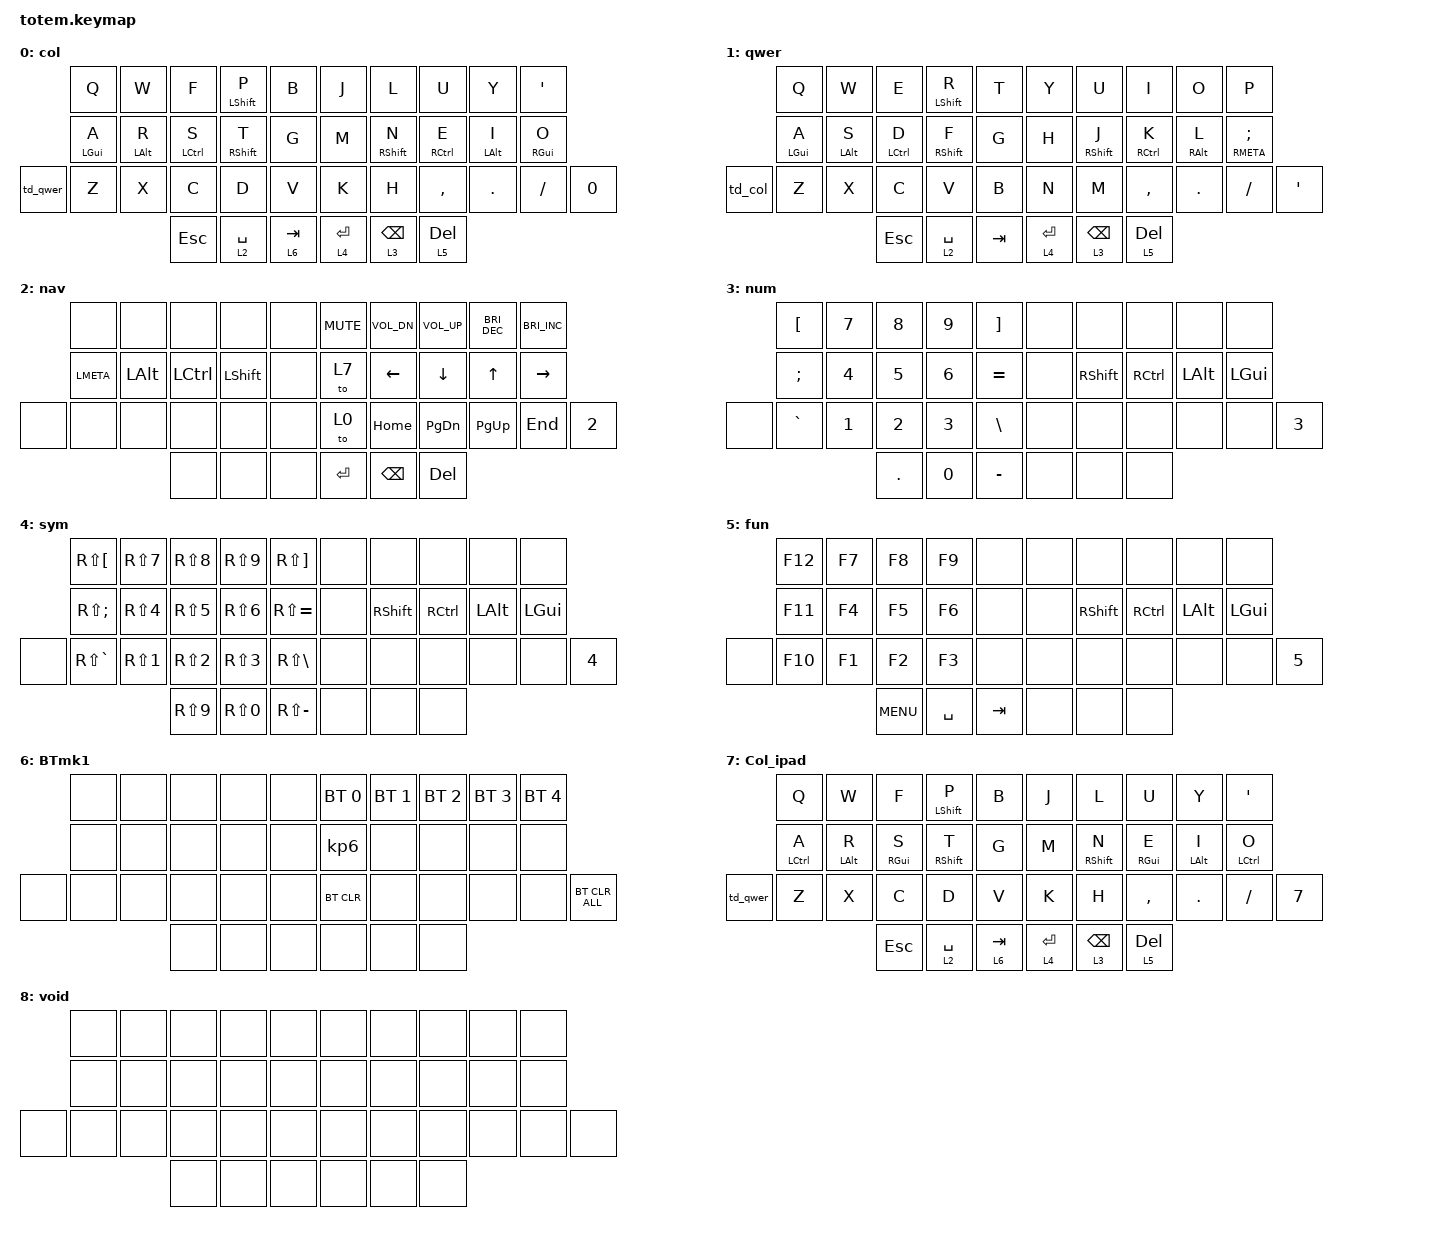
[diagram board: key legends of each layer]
//
//                                                        ▀▀▀▀▀     ▀▀▀▀▀          ▀▀█▀▀
//                                                        ▄▀▀▀▄  ▄  ▄▀▀▀▄  ▄  ▄▀▀▀▄  █  ▄▀▀▀▄
//                                                        █   █  █  █   █  █  █   █  █  █   █
//                                                         ▀▀▀   █   ▀▀▀   █   ▀▀▀   ▀   ▀▀▀
//                                                               █      ▄▄▄█▄▄▄    █   █  
//                                                               ▀      █  █  █     █▄█
//                                                             ▀▀▀▀▀    █  █  █      ▀
//                                                                      ▀  ▀  ▀
//
// ▄▄▄▄▄▄▄▄▄▄▄▄▄▄▄▄▄▄▄▄▄▄▄▄▄▄▄▄▄▄▄▄▄▄▄▄▄▄▄▄▄▄▄▄▄▄▄▄▄▄▄▄▄▄▄▄▄▄▄▄▄▄▄▄▄▄▄▄▄▄▄▄▄▄▄▄▄▄▄▄▄▄▄▄▄▄▄▄▄▄▄▄▄▄▄▄▄▄▄▄▄▄▄▄▄▄▄▄▄▄▄▄▄▄▄▄▄▄▄▄▄▄▄▄▄▄▄▄▄▄▄▄▄▄▄▄▄▄▄▄▄▄▄▄▄▄▄▄▄

#include <behaviors.dtsi>
#include <dt-bindings/zmk/bt.h>
#include <dt-bindings/zmk/keys.h>

/ {
    behaviors {
        hrmL: hrmL {
            compatible = "zmk,behavior-hold-tap";
            label = "HRML";
            bindings = <&kp>, <&kp>;

            #binding-cells = <2>;
            tapping-term-ms = <280>;
            hold-trigger-on-release;
            hold-trigger-key-positions = <5 6 7 8 9 15 16 17 18 19 26 27 28 29 30 31 35 36 37>;
            quick-tap-ms = <175>;
            require-prior-idle-ms = <150>;
            flavor = "balanced";
        };

        hrmR: hrmR {
            compatible = "zmk,behavior-hold-tap";
            label = "HRMR";
            bindings = <&kp>, <&kp>;

            #binding-cells = <2>;
            tapping-term-ms = <280>;
            hold-trigger-on-release;
            quick-tap-ms = <175>;
            require-prior-idle-ms = <150>;
            flavor = "balanced";
            hold-trigger-key-positions = <0 1 2 3 4 10 11 12 13 14 20 21 22 23 24 25 32 33 34>;
        };

        td_qwer: td_qwer {
            compatible = "zmk,behavior-tap-dance";
            label = "TD_QWER";
            #binding-cells = <0>;
            bindings = <&kp CAPSLOCK>, <&to 1>;
        };

        td_col: td_col {
            compatible = "zmk,behavior-tap-dance";
            label = "TD_COL";
            #binding-cells = <0>;
            bindings = <&kp CAPSLOCK>, <&to 0>;
        };
    };

    keymap {
        compatible = "zmk,keymap";

        col {
            bindings = <
          &kp Q             &kp W             &kp F                 &hrmL LEFT_SHIFT P   &kp B        &kp J        &kp L                &kp U                  &kp Y             &kp SQT
          &hrmL LEFT_GUI A  &hrmL LEFT_ALT R  &hrmL LEFT_CONTROL S  &hrmL RIGHT_SHIFT T  &kp G        &kp M        &hrmR RIGHT_SHIFT N  &hrmR RIGHT_CONTROL E  &hrmR LEFT_ALT I  &hrmR RIGHT_GUI O
&td_qwer  &kp Z             &kp X             &kp C                 &kp D                &kp V        &kp K        &kp H                &kp COMMA              &kp DOT           &kp FSLH           &kp N0
                                              &kp ESCAPE            &lt 2 SPACE          &lt 6 TAB    &lt 4 ENTER  &lt 3 BACKSPACE      &lt 5 DELETE
            >;
        };

        qwer {
            bindings = <
         &kp Q             &kp W             &kp E                 &hrmL LEFT_SHIFT R   &kp T      &kp Y        &kp U            &kp I          &kp O         &kp P
         &hrmL LEFT_GUI A  &hrmL LEFT_ALT S  &hrmL LEFT_CONTROL D  &hrmL RIGHT_SHIFT F  &kp G      &kp H        &hrmR RSHFT J    &hrmR RCTRL K  &hrmR RALT L  &hrmR RMETA SEMICOLON
&td_col  &kp Z             &kp X             &kp C                 &kp V                &kp B      &kp N        &kp M            &kp COMMA      &kp DOT       &kp FSLH               &kp SQT
                                             &kp ESCAPE            &lt 2 SPACE          &kp TAB    &lt 4 ENTER  &lt 3 BACKSPACE  &lt 5 DELETE
            >;
        };

        nav {
            bindings = <
       &none      &none     &none      &none      &none    &kp K_MUTE  &kp C_VOL_DN  &kp C_VOLUME_UP  &kp C_BRIGHTNESS_DEC  &kp C_BRIGHTNESS_INC
       &kp LMETA  &kp LALT  &kp LCTRL  &kp LSHFT  &none    &to 7       &kp LEFT      &kp DOWN         &kp UP                &kp RIGHT
&none  &none      &none     &none      &none      &none    &to 0       &kp HOME      &kp PG_DN        &kp PG_UP             &kp END               &kp N2
                            &none      &none      &none    &kp RET     &kp BSPC      &kp DEL
            >;
        };

        num {
            bindings = <
       &kp LBKT   &kp N7  &kp N8   &kp N9  &kp RBKT     &none  &none      &none      &none     &none
       &kp SEMI   &kp N4  &kp N5   &kp N6  &kp EQUAL    &none  &kp RSHFT  &kp RCTRL  &kp LALT  &kp LGUI
&none  &kp GRAVE  &kp N1  &kp N2   &kp N3  &kp BSLH     &none  &none      &none      &none     &none     &kp N3
                          &kp DOT  &kp N0  &kp MINUS    &none  &none      &none
            >;
        };

        sym {
            bindings = <
       &kp RS(LBKT)   &kp RS(N7)        &kp RS(N8)        &kp RS(N9)        &kp RS(RBKT)     &none  &none      &none      &none     &none
       &kp RS(SEMI)   &kp RS(N4)        &kp RS(N5)        &kp RS(N6)        &kp RS(EQUAL)    &none  &kp RSHFT  &kp RCTRL  &kp LALT  &kp LGUI
&none  &kp RS(GRAVE)  &kp RS(NUMBER_1)  &kp RS(NUMBER_2)  &kp RS(NUMBER_3)  &kp RS(BSLH)     &none  &none      &none      &none     &none     &kp N4
                                        &kp RS(N9)        &kp RS(N0)        &kp RS(MINUS)    &none  &none      &none
            >;
        };

        fun {
            bindings = <
       &kp F12  &kp F7  &kp F8      &kp F9     &none      &none  &none      &none      &none     &none
       &kp F11  &kp F4  &kp F5      &kp F6     &none      &none  &kp RSHFT  &kp RCTRL  &kp LALT  &kp LGUI
&none  &kp F10  &kp F1  &kp F2      &kp F3     &none      &none  &none      &none      &none     &none     &kp N5
                        &kp C_MENU  &kp SPACE  &kp TAB    &none  &none      &none
            >;
        };

        BTmk1 {
            bindings = <
       &none  &none  &none  &none  &none    &bt BT_SEL 0     &bt BT_SEL 1  &bt BT_SEL 2  &bt BT_SEL 3  &bt BT_SEL 4
       &none  &none  &none  &none  &none    &kp KP_NUMBER_6  &none         &none         &none         &none
&none  &none  &none  &none  &none  &none    &bt BT_CLR       &none         &none         &none         &none         &bt BT_CLR_ALL
                     &none  &none  &none    &none            &none         &none
            >;
        };

        Col_ipad {
            bindings = <
          &kp Q                 &kp W             &kp F              &hrmL LEFT_SHIFT P   &kp B        &kp J        &kp L                &kp U              &kp Y             &kp SQT
          &hrmL LEFT_CONTROL A  &hrmL LEFT_ALT R  &hrmL RIGHT_GUI S  &hrmL RIGHT_SHIFT T  &kp G        &kp M        &hrmR RIGHT_SHIFT N  &hrmR RIGHT_GUI E  &hrmR LEFT_ALT I  &hrmR LEFT_CONTROL O
&td_qwer  &kp Z                 &kp X             &kp C              &kp D                &kp V        &kp K        &kp H                &kp COMMA          &kp DOT           &kp FSLH              &kp N7
                                                  &kp ESCAPE         &lt 2 SPACE          &lt 6 TAB    &lt 4 ENTER  &lt 3 BACKSPACE      &lt 5 DELETE
            >;
        };

        void {
            bindings = <
       &none  &none  &none  &none  &none    &none  &none  &none  &none  &none
       &none  &none  &none  &none  &none    &none  &none  &none  &none  &none
&none  &none  &none  &none  &none  &none    &none  &none  &none  &none  &none  &none
                     &none  &none  &none    &none  &none  &none
            >;
        };
    };

    conditional_layers { compatible = "zmk,conditional-layers"; };
};
